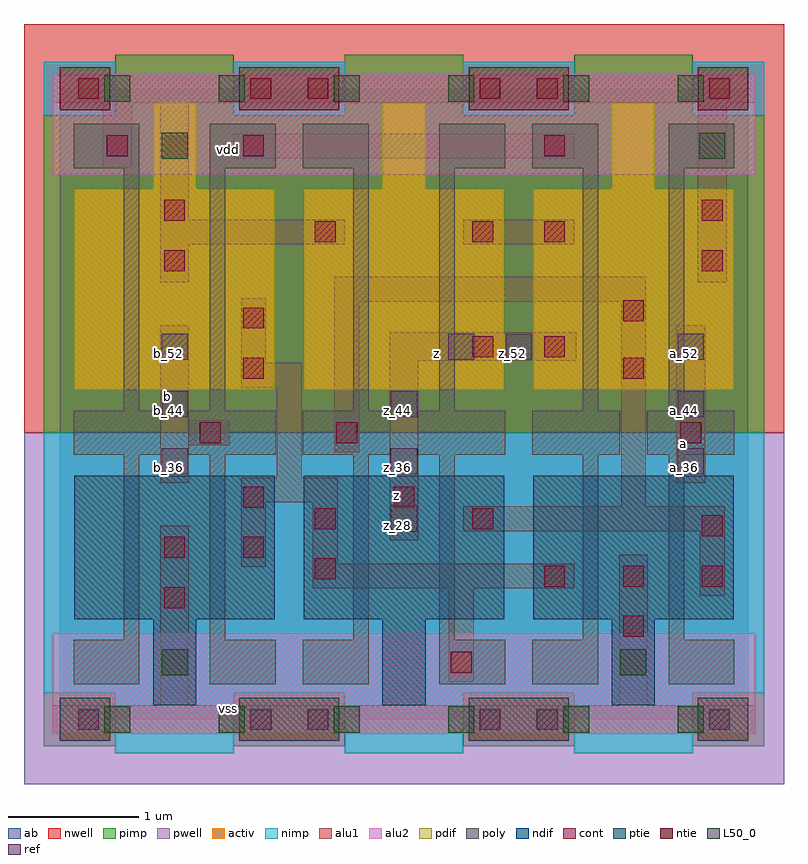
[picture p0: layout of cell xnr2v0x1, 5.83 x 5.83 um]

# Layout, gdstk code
import gdstk
lib = gdstk.Library(unit=1e-6, precision=2.5e-09)
def R(c, l, rs):  # rectangles x0, y0, x1, y1
    for r in rs: c.add(gdstk.rectangle(r[:2], r[2:], *l))
def A(c, l, x, y, w, h, nx, ny, dx, dy):  # array of equal rectangles
    R(c, l, [(x+i*dx, y+j*dy, x+i*dx+w, y+j*dy+h) for i in range(nx) for j in range(ny)])
ndif = (3, 0)
pdif = (4, 0)
ntie = (5, 0)
ptie = (6, 0)
ref = (24, 0)
cont = (25, 0)
pwell = (41, 0)
nwell = (42, 0)
activ = (43, 0)
pimp = (44, 0)
nimp = (45, 0)
poly = (46, 0)
alu1 = (49, 0)
L50_0 = (50, 0)
alu2 = (51, 0)
ab = (63, 0)

xnr2v0x1 = lib.new_cell('xnr2v0x1')
A(xnr2v0x1, ndif, 0.715, 0.11, 0.33, 0.66, 3, 1, 1.76, 0)
A(xnr2v0x1, ndif, 0.11, 0.77, 1.54, 1.1, 3, 1, 1.76, 0)
A(xnr2v0x1, pdif, 0.11, 2.53, 1.54, 1.54, 3, 1, 1.76, 0)
A(xnr2v0x1, pdif, 0.715, 4.07, 0.33, 0.66, 3, 1, 1.76, 0)
R(xnr2v0x1, ntie, [(0,4.675,0.385,5.005), (1.375,4.675,2.145,5.005), (3.135,4.675,3.905,5.005), (4.895,4.675,5.28,5.005)])
R(xnr2v0x1, ptie, [(0,-0.165,0.385,0.165), (1.375,-0.165,2.145,0.165), (3.135,-0.165,3.905,0.165), (4.895,-0.165,5.28,0.165)])
A(xnr2v0x1, ref, 2.54, 1.44, 0.2, 0.2, 1, 3, 0, 0.44)
A(xnr2v0x1, ref, 0.78, 1.88, 0.2, 0.2, 1, 3, 0, 0.44)
A(xnr2v0x1, ref, 4.74, 1.88, 0.2, 0.2, 1, 3, 0, 0.44)
R(xnr2v0x1, ref, [(2.98,2.76,3.18,2.96), (3.42,2.76,3.62,2.96)])
A(xnr2v0x1, cont, 3.715, 1.02, 0.16, 0.16, 3, 1, 0.605, 0)
R(xnr2v0x1, cont, [(0.14,-0.08,0.3,0.08), (1.46,-0.08,1.62,0.08), (1.9,-0.08,2.06,0.08), (3.22,-0.08,3.38,0.08), (3.66,-0.08,3.82,0.08), (4.98,-0.08,5.14,0.08), (3,0.36,3.16,0.52), (4.32,0.635,4.48,0.795), (0.8,0.855,0.96,1.015), (1.955,1.075,2.115,1.235), (0.8,1.24,0.96,1.4), (1.405,1.24,1.565,1.4), (4.925,1.405,5.085,1.565), (1.955,1.46,2.115,1.62), (3.165,1.46,3.325,1.62), (1.405,1.625,1.565,1.785), (2.56,1.625,2.72,1.785), (1.075,2.12,1.235,2.28), (2.12,2.12,2.28,2.28), (4.76,2.12,4.92,2.28), (1.405,2.615,1.565,2.775), (4.32,2.615,4.48,2.775), (3.165,2.78,3.325,2.94), (3.715,2.78,3.875,2.94), (1.405,3,1.565,3.16), (4.32,3.055,4.48,3.215), (0.8,3.44,0.96,3.6), (4.925,3.44,5.085,3.6), (1.955,3.66,2.115,3.82), (3.165,3.66,3.325,3.82), (3.715,3.66,3.875,3.82), (0.8,3.825,0.96,3.985), (4.925,3.825,5.085,3.985), (0.36,4.32,0.52,4.48), (1.405,4.32,1.565,4.48), (3.715,4.32,3.875,4.48), (0.14,4.76,0.3,4.92), (1.46,4.76,1.62,4.92), (1.9,4.76,2.06,4.92), (3.22,4.76,3.38,4.92), (3.66,4.76,3.82,4.92), (4.98,4.76,5.14,4.92)])
R(xnr2v0x1, pwell, [(-0.275,-0.495,5.555,2.2)])
R(xnr2v0x1, nwell, [(-0.275,2.2,5.555,5.335)])
A(xnr2v0x1, activ, 0.715, 0.11, 0.33, 0.66, 3, 2, 1.76, 3.96)
A(xnr2v0x1, activ, 0.11, 0.77, 1.54, 1.1, 3, 1, 1.76, 0)
A(xnr2v0x1, activ, 0.11, 2.53, 1.54, 1.54, 3, 1, 1.76, 0)
R(xnr2v0x1, activ, [(0,-0.165,0.385,0.165), (1.375,-0.165,2.145,0.165), (3.135,-0.165,3.905,0.165), (4.895,-0.165,5.28,0.165), (0,4.675,0.385,5.005), (1.375,4.675,2.145,5.005), (3.135,4.675,3.905,5.005), (4.895,4.675,5.28,5.005)])
A(xnr2v0x1, pimp, 0.425, 4.635, 0.91, 0.465, 3, 1, 1.76, 0)
R(xnr2v0x1, pimp, [(-0.125,-0.205,0.425,0.205), (1.335,-0.205,2.185,0.205), (3.095,-0.205,3.945,0.205), (4.855,-0.205,5.405,0.205), (-0.125,2.2,5.405,4.635)])
A(xnr2v0x1, nimp, 0.425, -0.26, 0.91, 0.465, 3, 1, 1.76, 0)
R(xnr2v0x1, nimp, [(-0.125,0.205,5.405,2.2), (-0.125,4.635,0.425,5.045), (1.335,4.635,2.185,5.045), (3.095,4.635,3.945,5.045), (4.855,4.635,5.405,5.045)])
A(xnr2v0x1, poly, 0.105, 2.03, 0.67, 0.34, 6, 1, 0.88, 0)
R(xnr2v0x1, poly, [(0.105,0.27,0.61,0.61), (1.15,0.27,1.655,0.61), (1.865,0.27,2.37,0.61), (2.91,0.27,3.415,0.61), (3.625,0.27,4.13,0.61), (4.67,0.27,5.175,0.61), (0.49,0.61,0.61,2.03), (1.15,0.61,1.27,2.03), (2.25,0.61,2.37,2.03), (2.91,0.61,3.03,2.03), (4.01,0.61,4.13,2.03), (4.67,0.61,4.79,2.03), (0.49,2.37,0.61,4.23), (1.15,2.37,1.27,4.23), (2.25,2.37,2.37,4.23), (2.91,2.37,3.03,4.23), (4.01,2.37,4.13,4.23), (4.67,2.37,4.79,4.23), (0.105,4.23,0.61,4.57), (1.15,4.23,1.655,4.57), (1.865,4.23,2.37,4.57), (2.91,4.23,3.415,4.57), (3.625,4.23,4.13,4.57), (4.67,4.23,5.175,4.57)])
R(xnr2v0x1, alu1, [(-0.055,-0.11,5.335,0.11), (0.77,0.11,0.99,1.485), (4.29,0.11,4.51,1.265), (2.985,0.29,3.175,1.005), (4.91,0.95,5.1,1.445), (1.94,1.005,3.945,1.195), (1.39,1.17,1.58,1.665), (1.94,1.195,2.13,1.665), (2.53,1.375,2.75,2.75), (3.095,1.445,5.1,1.635), (4.305,1.635,4.495,3.205), (1.39,1.665,2.13,1.855), (0.77,1.815,0.99,2.105), (4.73,1.815,4.95,3.025), (1.665,1.855,1.855,2.545), (2.105,2.05,2.295,3.205), (0.77,2.105,1.305,2.295), (0.77,2.295,0.99,3.025), (1.39,2.545,1.855,2.735), (1.39,2.735,1.58,3.23), (2.53,2.75,3.96,2.97), (2.105,3.205,4.495,3.395), (0.77,3.355,0.99,3.645), (4.895,3.355,5.115,4.73), (0.77,3.645,2.185,3.835), (3.095,3.645,3.945,3.835), (0.77,3.835,0.99,4.73), (0.33,4.235,0.55,4.73), (1.335,4.305,3.945,4.495), (-0.055,4.73,5.335,4.95)])
A(xnr2v0x1, L50_0, 0.34, -0.1, 0.2, 0.2, 6, 2, 0.88, 4.84)
R(xnr2v0x1, L50_0, [(0.78,0.34,0.98,0.54), (4.3,0.34,4.5,0.54), (0.78,4.3,0.98,4.5), (4.905,4.3,5.105,4.5)])
R(xnr2v0x1, alu2, [(-0.055,-0.11,5.335,0.66), (-0.055,4.18,5.335,4.95)])
R(xnr2v0x1, ab, [(0,0,5.28,4.84)])
xnr2v0x1.add(gdstk.Label('a', (4.785,2.1175), layer=49, texttype=0))
xnr2v0x1.add(gdstk.Label('z', (2.585,1.7175), layer=49, texttype=0))
xnr2v0x1.add(gdstk.Label('z', (2.8875,2.805), layer=49, texttype=0))
xnr2v0x1.add(gdstk.Label('b', (0.825,2.4775), layer=49, texttype=0))
xnr2v0x1.add(gdstk.Label('vss', (1.2925,0.0825), layer=51, texttype=0))
xnr2v0x1.add(gdstk.Label('vdd', (1.2925,4.3725), layer=51, texttype=0))
xnr2v0x1.add(gdstk.Label('z_52', (3.47,2.81), layer=24, texttype=0))
xnr2v0x1.add(gdstk.Label('z_52', (3.03,2.81), layer=24, texttype=0))
xnr2v0x1.add(gdstk.Label('a_36', (4.79,1.93), layer=24, texttype=0))
xnr2v0x1.add(gdstk.Label('a_44', (4.79,2.37), layer=24, texttype=0))
xnr2v0x1.add(gdstk.Label('a_52', (4.79,2.81), layer=24, texttype=0))
xnr2v0x1.add(gdstk.Label('b_36', (0.83,1.93), layer=24, texttype=0))
xnr2v0x1.add(gdstk.Label('b_44', (0.83,2.37), layer=24, texttype=0))
xnr2v0x1.add(gdstk.Label('b_52', (0.83,2.81), layer=24, texttype=0))
xnr2v0x1.add(gdstk.Label('z_44', (2.59,2.37), layer=24, texttype=0))
xnr2v0x1.add(gdstk.Label('z_36', (2.59,1.93), layer=24, texttype=0))
xnr2v0x1.add(gdstk.Label('z_28', (2.59,1.49), layer=24, texttype=0))

lib.write_gds('xnr2v0x1.gds')
